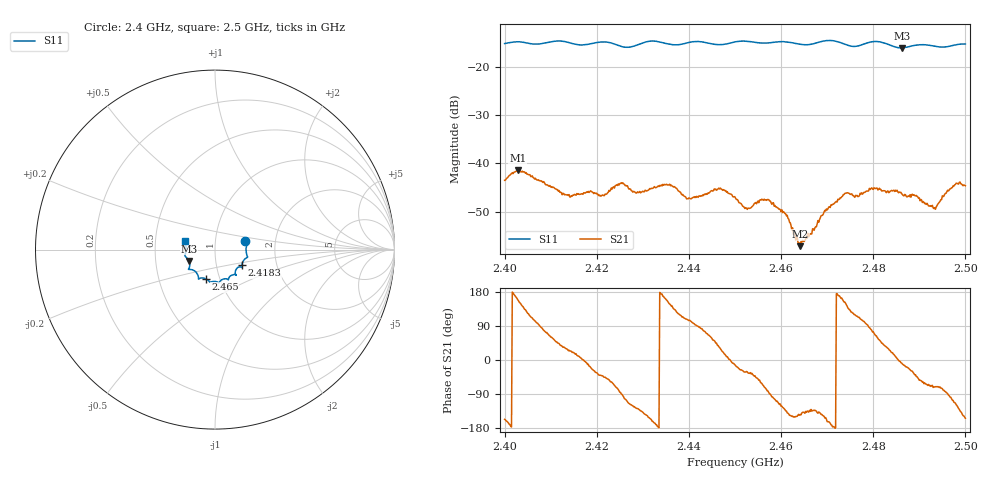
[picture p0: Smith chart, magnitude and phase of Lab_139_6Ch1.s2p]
# Hz S RI R 50
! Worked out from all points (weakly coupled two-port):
!   601 points, 2.4 GHz to 2.5 GHz, reference 50 ohm
!   highest |S21| = -41.47 dB at 2.4028 GHz (marker M1); lowest = -57.2 dB at 2.4642 GHz (marker M2)
!   lowest |S11| = -16.0 dB at 2.4862 GHz (marker M3), VSWR 1.38, Z = 37.1 - j4.84 ohm
!   |S11| at or under -10 dB: start of sweep to end of sweep
!   S12 and S22 are empty: the file has one direction only
!   S11 on the Smith chart (normalised r, x): 2.4 GHz: 1.40, +0.13; 2.4183 GHz: 1.33, -0.24; 2.465 GHz: 0.86, -0.29; 2.5 GHz: 0.71, +0.07
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2.4e9  0.169 0.0457  -0.00612 -0.00265  0 0  0 0
2.402833e9  0.1797 0.0332  -0.00789 0.00299  0 0  0 0
2.413e9  0.1787 -0.0442  0.00397 0.00254  0 0  0 0
2.416667e9  0.1549 -0.0684  0.00482 0.000368  0 0  0 0
2.418333e9  0.1497 -0.087  0.00479 -0.00139  0 0  0 0
2.433333e9  0.1168 -0.1415  -0.0058 -0.00035  0 0  0 0
2.436333e9  0.0961 -0.1413  -0.00464 0.00352  0 0  0 0
2.44e9  0.0757 -0.1633  -0.00105 0.00425  0 0  0 0
2.446667e9  0.0467 -0.1642  0.00456 0.00294  0 0  0 0
2.45e9  0.0252 -0.1807  0.00437 -0.000998  0 0  0 0
2.452667e9  0.0194 -0.1839  0.00284 -0.00173  0 0  0 0
2.457833e9  -0.0167 -0.1784  -0.000225 -0.00389  0 0  0 0
2.461e9  -0.0304 -0.1803  -0.00209 -0.00215  0 0  0 0
2.464167e9  -0.0443 -0.1665  -0.00112 -0.000813  0 0  0 0
2.465e9  -0.0527 -0.1622  -0.00115 -0.00102  0 0  0 0
2.466667e9  -0.0713 -0.1578  -0.00131 -0.00131  0 0  0 0
2.474e9  -0.0957 -0.1422  -0.00424 0.00247  0 0  0 0
2.483333e9  -0.1418 -0.0959  0.00434 0.00242  0 0  0 0
2.486167e9  -0.1446 -0.0636  0.0048 -0.000686  0 0  0 0
2.493167e9  -0.1639 -0.0177  0.00111 -0.0032  0 0  0 0
2.497833e9  -0.1661 0.035  -0.00245 -0.00551  0 0  0 0
2.5e9  -0.1668 0.0472  -0.00526 -0.00255  0 0  0 0
